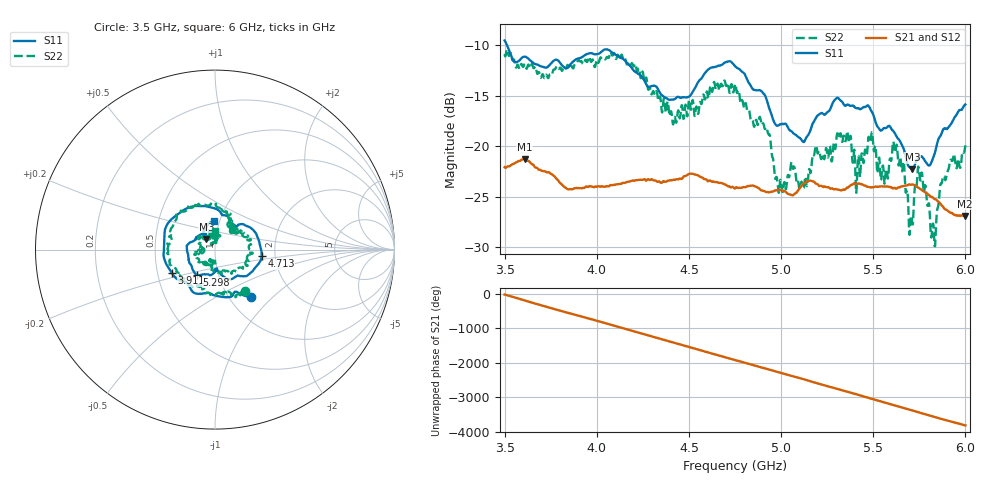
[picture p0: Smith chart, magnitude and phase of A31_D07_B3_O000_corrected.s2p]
! Created with skrf 1.9.0 (http://scikit-rf.org).
# Hz S RI R 50.0
!freq ReS11 ImS11 ReS21 ImS21 ReS12 ImS12 ReS22 ImS22
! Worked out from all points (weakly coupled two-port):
!   1601 points, 3.5 GHz to 6 GHz, reference 50 ohm
!   highest |S21| = -21.28 dB at 3.609 GHz (marker M1); lowest = -26.9 dB at 5.995 GHz (marker M2)
!   lowest |S11| = -22.3 dB at 5.713 GHz (marker M3), VSWR 1.17, Z = 45.1 + j5.43 ohm
!   |S11| at or under -10 dB: 3.513 GHz to end of sweep
!   |S22| runs from -29.9 to -10.4 dB; largest |S21 - S12| = 0.00096
!   S11 on the Smith chart (normalised r, x): 3.5 GHz: 1.26, -0.75; 3.911 GHz: 0.60, -0.17; 4.713 GHz: 1.69, -0.14; 5.298 GHz: 0.79, -0.23; 6 GHz: 0.94, +0.31
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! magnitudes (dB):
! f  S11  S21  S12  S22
! 3.5 GHz  -9.5  -22.1  -22.1  -10.9
! 3.609 GHz  -11.1  -21.3  -21.3  -11.9
! 3.911 GHz  -11.3  -24.1  -24.1  -11.6
! 3.917 GHz  -11.2  -24.2  -24.1  -11.6
! 4.142 GHz  -11.4  -23.6  -23.6  -11.4
! 4.334 GHz  -14.4  -23.5  -23.4  -15.5
! 4.422 GHz  -15.3  -23.3  -23.3  -17.1
! 4.713 GHz  -11.6  -23.9  -23.9  -13.9
! 4.75 GHz  -12.1  -24.2  -24.1  -13.9
! 4.928 GHz  -15.8  -24.5  -24.5  -18.7
! 4.997 GHz  -17.8  -24.3  -24.3  -23.3
! 5.167 GHz  -18.0  -23.4  -23.4  -21.5
! 5.298 GHz  -15.3  -24.2  -24.2  -19.6
! 5.486 GHz  -16.4  -24.1  -24.0  -19.4
! 5.584 GHz  -18.0  -24.0  -24.0  -22.3
! 5.619 GHz  -18.8  -24.1  -24.1  -20.6
! 5.713 GHz  -22.3  -23.8  -23.7  -27.7
! 5.753 GHz  -21.0  -24.2  -24.2  -23.1
! 5.827 GHz  -21.1  -25.1  -25.1  -27.7
! 5.873 GHz  -18.6  -25.9  -25.8  -23.5
! 5.995 GHz  -15.9  -26.9  -26.8  -20.5
! 6 GHz  -15.9  -26.9  -26.8  -19.9
